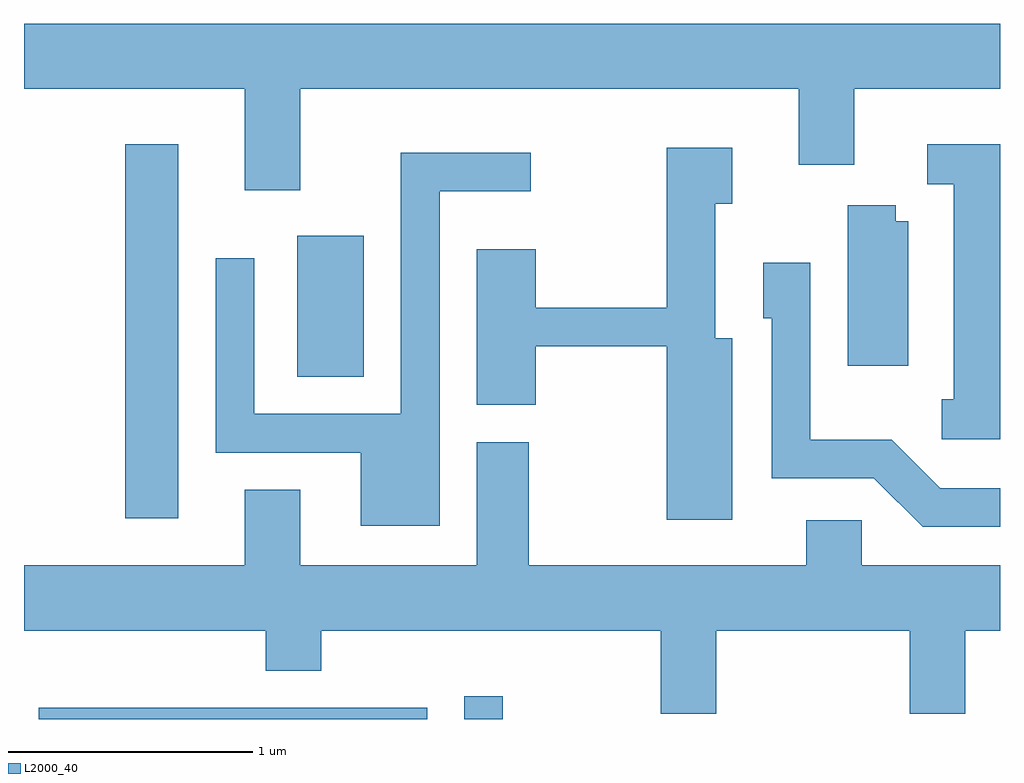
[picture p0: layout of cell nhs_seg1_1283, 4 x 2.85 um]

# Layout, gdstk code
import gdstk
lib = gdstk.Library(unit=1e-6, precision=1e-09)
def R(c, l, rs):  # rectangles x0, y0, x1, y1
    for r in rs: c.add(gdstk.rectangle(r[:2], r[2:], *l))
def P(c, l, *ps):  # polygons
    for p in ps: c.add(gdstk.Polygon(p, *l))
L2000_40 = (2000, 40)

nhs_seg1_1283 = lib.new_cell('nhs_seg1_1283')
R(nhs_seg1_1283, L2000_40, [(225.671,843.712,227.264,843.759), (227.416,843.712,227.574,843.808), (226.026,844.536,226.244,846.069), (226.731,845.116,227.004,845.694)])
P(nhs_seg1_1283, L2000_40, [(226.744,846.296),(228.786,846.296),(228.786,845.986),(229.014,845.986),(229.014,846.296),(229.611,846.296),(229.611,846.564),(225.611,846.564),(225.611,846.296),(226.516,846.296),(226.516,845.881),(226.744,845.881)],
  [(229.611,846.069),(229.313,846.069),(229.313,845.906),(229.421,845.906),(229.421,845.024),(229.373,845.024),(229.373,844.861),(229.611,844.861)],
  [(228.514,845.274),(228.444,845.274),(228.444,845.826),(228.514,845.826),(228.514,846.054),(228.246,846.054),(228.246,845.399),(227.709,845.399),(227.709,845.639),(227.466,845.639),(227.466,845.001),(227.709,845.001),(227.709,845.241),(228.246,845.241),(228.246,844.531),(228.514,844.531)],
  [(227.314,845.876),(227.688,845.876),(227.688,846.034),(227.156,846.034),(227.156,844.964),(226.554,844.964),(226.554,845.603),(226.396,845.603),(226.396,844.806),(226.991,844.806),(226.991,844.506),(227.314,844.506)],
  [(229.234,845.754),(229.184,845.754),(229.184,845.819),(228.986,845.819),(228.986,845.161),(229.234,845.161)],
  [(229.611,844.659),(229.367,844.659),(229.167,844.859),(228.834,844.859),(228.834,845.584),(228.641,845.584),(228.641,845.356),(228.676,845.356),(228.676,844.701),(229.094,844.701),(229.294,844.501),(229.611,844.501)],
  [(228.449,844.076),(229.241,844.076),(229.241,843.736),(229.469,843.736),(229.469,844.076),(229.611,844.076),(229.611,844.344),(229.044,844.344),(229.044,844.529),(228.816,844.529),(228.816,844.344),(227.679,844.344),(227.679,844.849),(227.466,844.849),(227.466,844.344),(226.744,844.344),(226.744,844.654),(226.516,844.654),(226.516,844.344),(225.611,844.344),(225.611,844.076),(226.601,844.076),(226.601,843.911),(226.829,843.911),(226.829,844.076),(228.221,844.076),(228.221,843.736),(228.449,843.736)])

lib.write_gds('nhs_seg1_1283.gds')
